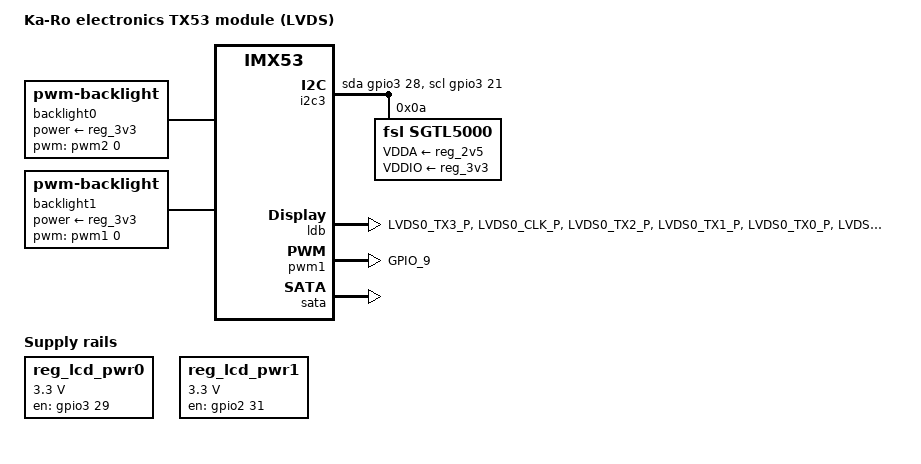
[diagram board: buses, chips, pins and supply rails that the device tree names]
/*
 * Copyright 2013-2017 Lothar Waßmann <LW@KARO-electronics.de>
 *
 * This file is dual-licensed: you can use it either under the terms
 * of the GPL or the X11 license, at your option. Note that this dual
 * licensing only applies to this file, and not this project as a
 * whole.
 *
 *  a) This file is free software; you can redistribute it and/or
 *     modify it under the terms of the GNU General Public License
 *     version 2 as published by the Free Software Foundation.
 *
 *     This file is distributed in the hope that it will be useful,
 *     but WITHOUT ANY WARRANTY; without even the implied warranty of
 *     MERCHANTABILITY or FITNESS FOR A PARTICULAR PURPOSE.  See the
 *     GNU General Public License for more details.
 *
 * Or, alternatively,
 *
 *  b) Permission is hereby granted, free of charge, to any person
 *     obtaining a copy of this software and associated documentation
 *     files (the "Software"), to deal in the Software without
 *     restriction, including without limitation the rights to use,
 *     copy, modify, merge, publish, distribute, sublicense, and/or
 *     sell copies of the Software, and to permit persons to whom the
 *     Software is furnished to do so, subject to the following
 *     conditions:
 *
 *     The above copyright notice and this permission notice shall be
 *     included in all copies or substantial portions of the Software.
 *
 *     THE SOFTWARE IS PROVIDED "AS IS", WITHOUT WARRANTY OF ANY KIND,
 *     EXPRESS OR IMPLIED, INCLUDING BUT NOT LIMITED TO THE WARRANTIES
 *     OF MERCHANTABILITY, FITNESS FOR A PARTICULAR PURPOSE AND
 *     NONINFRINGEMENT. IN NO EVENT SHALL THE AUTHORS OR COPYRIGHT
 *     HOLDERS BE LIABLE FOR ANY CLAIM, DAMAGES OR OTHER LIABILITY,
 *     WHETHER IN AN ACTION OF CONTRACT, TORT OR OTHERWISE, ARISING
 *     FROM, OUT OF OR IN CONNECTION WITH THE SOFTWARE OR THE USE OR
 *     OTHER DEALINGS IN THE SOFTWARE.
 * The code contained herein is licensed under the GNU General Public
 * License. You may obtain a copy of the GNU General Public License
 * Version 2 at the following locations:
 *
 * http://www.opensource.org/licenses/gpl-license.html
 * http://www.gnu.org/copyleft/gpl.html
 */

/dts-v1/;
#include "imx53-tx53.dtsi"
#include <dt-bindings/input/input.h>

/ {
	model = "Ka-Ro electronics TX53 module (LVDS)";
	compatible = "karo,tx53", "fsl,imx53";

	aliases {
		display = &lvds0;
		lvds0 = &lvds0;
		lvds1 = &lvds1;
	};

	backlight0: backlight0 {
		compatible = "pwm-backlight";
		pwms = <&pwm2 0 500000 0>;
		power-supply = <&reg_3v3>;
		brightness-levels = <
			  0  1  2  3  4  5  6  7  8  9
			 10 11 12 13 14 15 16 17 18 19
			 20 21 22 23 24 25 26 27 28 29
			 30 31 32 33 34 35 36 37 38 39
			 40 41 42 43 44 45 46 47 48 49
			 50 51 52 53 54 55 56 57 58 59
			 60 61 62 63 64 65 66 67 68 69
			 70 71 72 73 74 75 76 77 78 79
			 80 81 82 83 84 85 86 87 88 89
			 90 91 92 93 94 95 96 97 98 99
			100
		>;
		default-brightness-level = <50>;
	};

	backlight1: backlight1 {
		compatible = "pwm-backlight";
		pwms = <&pwm1 0 500000 0>;
		power-supply = <&reg_3v3>;
		brightness-levels = <
			  0  1  2  3  4  5  6  7  8  9
			 10 11 12 13 14 15 16 17 18 19
			 20 21 22 23 24 25 26 27 28 29
			 30 31 32 33 34 35 36 37 38 39
			 40 41 42 43 44 45 46 47 48 49
			 50 51 52 53 54 55 56 57 58 59
			 60 61 62 63 64 65 66 67 68 69
			 70 71 72 73 74 75 76 77 78 79
			 80 81 82 83 84 85 86 87 88 89
			 90 91 92 93 94 95 96 97 98 99
			100
		>;
		default-brightness-level = <50>;
	};

	reg_lcd_pwr0: regulator-lvds0-pwr {
		compatible = "regulator-fixed";
		regulator-name = "LVDS0 POWER";
		regulator-min-microvolt = <3300000>;
		regulator-max-microvolt = <3300000>;
		gpio = <&gpio3 29 GPIO_ACTIVE_HIGH>;
		enable-active-high;
		regulator-boot-on;
	};

	reg_lcd_pwr1: regulator-lvds1-pwr {
		compatible = "regulator-fixed";
		regulator-name = "LVDS1 POWER";
		regulator-min-microvolt = <3300000>;
		regulator-max-microvolt = <3300000>;
		gpio = <&gpio2 31 GPIO_ACTIVE_HIGH>;
		enable-active-high;
		regulator-boot-on;
	};
};

&i2c3 {
	pinctrl-names = "default", "gpio";
	pinctrl-0 = <&pinctrl_i2c3>;
	pinctrl-1 = <&pinctrl_i2c3_gpio>;
	scl-gpios = <&gpio3 21 GPIO_ACTIVE_HIGH>;
	sda-gpios = <&gpio3 28 GPIO_ACTIVE_HIGH>;
	status = "okay";

	sgtl5000: codec@a {
		compatible = "fsl,sgtl5000";
		reg = <0x0a>;
		VDDA-supply = <&reg_2v5>;
		VDDIO-supply = <&reg_3v3>;
		clocks = <&mclk>;
	};
};

&iomuxc {
	imx53-tx53-x13x {
		pinctrl_lvds0: lvds0grp {
			fsl,pins = <
				MX53_PAD_LVDS0_TX3_P__LDB_LVDS0_TX3 0x80000000
				MX53_PAD_LVDS0_CLK_P__LDB_LVDS0_CLK 0x80000000
				MX53_PAD_LVDS0_TX2_P__LDB_LVDS0_TX2 0x80000000
				MX53_PAD_LVDS0_TX1_P__LDB_LVDS0_TX1 0x80000000
				MX53_PAD_LVDS0_TX0_P__LDB_LVDS0_TX0 0x80000000
			>;
		};

		pinctrl_lvds1: lvds1grp {
			fsl,pins = <
				MX53_PAD_LVDS1_TX3_P__LDB_LVDS1_TX3 0x80000000
				MX53_PAD_LVDS1_TX2_P__LDB_LVDS1_TX2 0x80000000
				MX53_PAD_LVDS1_CLK_P__LDB_LVDS1_CLK 0x80000000
				MX53_PAD_LVDS1_TX1_P__LDB_LVDS1_TX1 0x80000000
				MX53_PAD_LVDS1_TX0_P__LDB_LVDS1_TX0 0x80000000
			>;
		};

		pinctrl_pwm1: pwm1grp {
			fsl,pins = <MX53_PAD_GPIO_9__PWM1_PWMO 0x04>;
		};

		pinctrl_eeti1: eeti1grp {
			fsl,pins = <
				MX53_PAD_EIM_D22__GPIO3_22 0x1f0 /* Interrupt */
			>;
		};

		pinctrl_eeti2: eeti2grp {
			fsl,pins = <
				MX53_PAD_EIM_D23__GPIO3_23 0x1f0 /* Interrupt */
			>;
		};
	};
};

&ldb {
	pinctrl-names = "default";
	pinctrl-0 = <&pinctrl_lvds0 &pinctrl_lvds1>;
	status = "okay";

	lvds0: lvds-channel@0 {
		fsl,data-mapping = "spwg";
		fsl,data-width = <18>;
		status = "okay";

		display-timings {
			native-mode = <&lvds0_timing0>;

			lvds0_timing0: hsd100pxn1 {
				clock-frequency = <65000000>;
				hactive = <1024>;
				vactive = <768>;
				hback-porch = <220>;
				hsync-len = <60>;
				hfront-porch = <40>;
				vback-porch = <21>;
				vsync-len = <10>;
				vfront-porch = <7>;
				hsync-active = <0>;
				vsync-active = <0>;
				de-active = <1>;
				pixelclk-active = <1>;
			};

			lvds0_timing1: nl12880bc20 {
				clock-frequency = <71000000>;
				hactive = <1280>;
				vactive = <800>;
				hback-porch = <50>;
				hsync-len = <60>;
				hfront-porch = <50>;
				vback-porch = <5>;
				vsync-len = <13>;
				vfront-porch = <5>;
				hsync-active = <0>;
				vsync-active = <0>;
				de-active = <1>;
				pixelclk-active = <1>;
			};
		};
	};

	lvds1: lvds-channel@1 {
		fsl,data-mapping = "spwg";
		fsl,data-width = <18>;
		status = "okay";

		display-timings {
			native-mode = <&lvds1_timing0>;

			lvds1_timing0: hsd100pxn1 {
				clock-frequency = <65000000>;
				hactive = <1024>;
				vactive = <768>;
				hback-porch = <220>;
				hsync-len = <60>;
				hfront-porch = <40>;
				vback-porch = <21>;
				vsync-len = <10>;
				vfront-porch = <7>;
				hsync-active = <0>;
				vsync-active = <0>;
				de-active = <1>;
				pixelclk-active = <1>;
			};
		};
	};
};

&pwm1 {
	pinctrl-names = "default";
	pinctrl-0 = <&pinctrl_pwm1>;
};

&sata {
	status = "okay";
};
